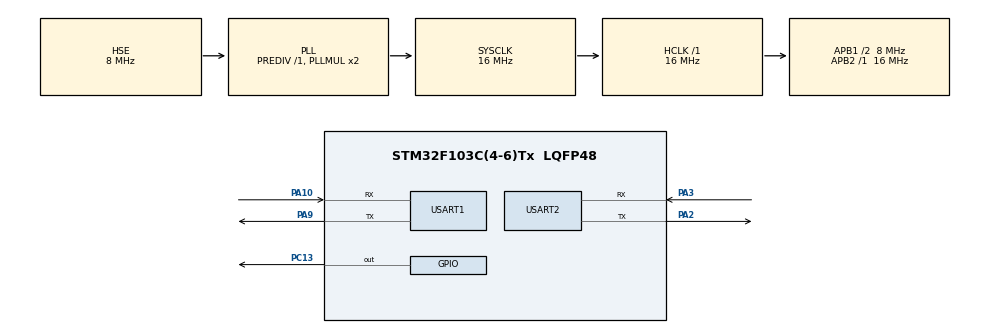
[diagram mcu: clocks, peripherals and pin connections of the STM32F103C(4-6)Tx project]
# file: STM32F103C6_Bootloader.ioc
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Mcu.Family=STM32F1
Mcu.Name=STM32F103C(4-6)Tx
Mcu.Package=LQFP48
NVIC.PriorityGroup=NVIC_PRIORITYGROUP_4
PA10.Mode=Asynchronous
PA10.Signal=USART1_RX
PA13.Mode=Serial_Wire
PA13.Signal=SYS_JTMS-SWDIO
PA14.Mode=Serial_Wire
PA14.Signal=SYS_JTCK-SWCLK
PA2.Mode=Asynchronous
PA2.Signal=USART2_TX
PA3.Mode=Asynchronous
PA3.Signal=USART2_RX
PA9.Mode=Asynchronous
PA9.Signal=USART1_TX
PC13-TAMPER-RTC.Signal=GPIO_Output
PD0-OSC_IN.Mode=HSE-External-Oscillator
PD0-OSC_IN.Signal=RCC_OSC_IN
PD1-OSC_OUT.Mode=HSE-External-Oscillator
PD1-OSC_OUT.Signal=RCC_OSC_OUT
ProjectManager.HeapSize=0x200
ProjectManager.StackSize=0x400
ProjectManager.TargetToolchain=STM32CubeIDE
RCC.AHBFreq_Value=16000000
RCC.APB1CLKDivider=RCC_HCLK_DIV2
RCC.APB1Freq_Value=8000000
RCC.APB1TimFreq_Value=16000000
RCC.APB2Freq_Value=16000000
RCC.APB2TimFreq_Value=16000000
RCC.HCLKFreq_Value=16000000
RCC.PLLSourceVirtual=RCC_PLLSOURCE_HSE
RCC.SYSCLKFreq_VALUE=16000000
RCC.SYSCLKSource=RCC_SYSCLKSOURCE_PLLCLK
RCC.USBFreq_Value=16000000
USART1.VirtualMode=VM_ASYNC
USART2.VirtualMode=VM_ASYNC
VP_CRC_VS_CRC.Mode=CRC_Activate
board=custom

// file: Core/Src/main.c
/* USER CODE BEGIN Header */
/**
  ******************************************************************************
  * @file           : main.c
  * @brief          : Main program body
  ******************************************************************************
  * @attention
  *
  * Copyright (c) 2023 STMicroelectronics.
  * All rights reserved.
  *
  * This software is licensed under terms that can be found in the LICENSE file
  * in the root directory of this software component.
  * If no LICENSE file comes with this software, it is provided AS-IS.
  *
  ******************************************************************************
  */
/* USER CODE END Header */
#include "main.h"
#include "crc.h"
#include "usart.h"
#include "gpio.h"

/* USER CODE BEGIN Includes */
#include "Bootloader.h"
/* USER CODE END Includes */

void SystemClock_Config(void);
/* USER CODE BEGIN PFP */
uint8_t Check_APP_EXIST(void);
/* USER CODE END PFP */

int main(void)
{

  /* MCU Configuration--------------------------------------------------------*/

  /* Reset of all peripherals, Initializes the Flash interface and the Systick. */
  HAL_Init();

  /* Configure the system clock */
  SystemClock_Config();

  /* Initialize all configured peripherals */
  MX_GPIO_Init();
  MX_CRC_Init();
  MX_USART2_UART_Init();
  MX_USART1_UART_Init();
  /* USER CODE BEGIN 2 */
  uint8_t App_Status = Check_APP_EXIST();
  if (App_Status == APP_EXIST)
  {
	BL_Print_Message("App Started \r\n");
  	Bootloader_Jump_To_User_App();
  }
  BL_Print_Message("Bootloader Started \r\n");
  /* USER CODE END 2 */

  /* Infinite loop */
  while (1)
  {

    /* USER CODE BEGIN 3 */
	BL_UART_Fetch_Host_Command();
  }
  /* USER CODE END 3 */
}

void SystemClock_Config(void)
{
  RCC_OscInitTypeDef RCC_OscInitStruct = {0};
  RCC_ClkInitTypeDef RCC_ClkInitStruct = {0};

  /** Initializes the RCC Oscillators according to the specified parameters
  * in the RCC_OscInitTypeDef structure.
  */
  RCC_OscInitStruct.OscillatorType = RCC_OSCILLATORTYPE_HSE;
  RCC_OscInitStruct.HSEState = RCC_HSE_ON;
  RCC_OscInitStruct.HSEPredivValue = RCC_HSE_PREDIV_DIV1;
  RCC_OscInitStruct.HSIState = RCC_HSI_ON;
  RCC_OscInitStruct.PLL.PLLState = RCC_PLL_ON;
  RCC_OscInitStruct.PLL.PLLSource = RCC_PLLSOURCE_HSE;
  RCC_OscInitStruct.PLL.PLLMUL = RCC_PLL_MUL2;
  if (HAL_RCC_OscConfig(&RCC_OscInitStruct) != HAL_OK)
  {
    Error_Handler();
  }

  /** Initializes the CPU, AHB and APB buses clocks
  */
  RCC_ClkInitStruct.ClockType = RCC_CLOCKTYPE_HCLK|RCC_CLOCKTYPE_SYSCLK
                              |RCC_CLOCKTYPE_PCLK1|RCC_CLOCKTYPE_PCLK2;
  RCC_ClkInitStruct.SYSCLKSource = RCC_SYSCLKSOURCE_PLLCLK;
  RCC_ClkInitStruct.AHBCLKDivider = RCC_SYSCLK_DIV1;
  RCC_ClkInitStruct.APB1CLKDivider = RCC_HCLK_DIV2;
  RCC_ClkInitStruct.APB2CLKDivider = RCC_HCLK_DIV1;

  if (HAL_RCC_ClockConfig(&RCC_ClkInitStruct, FLASH_LATENCY_0) != HAL_OK)
  {
    Error_Handler();
  }
}

/* USER CODE BEGIN 4 */
uint8_t Check_APP_EXIST()
{
	uint8_t App_Status = APP_NOT_EXIST;
	uint8_t* data = (uint8_t*)((uint32_t *)FLASH_USER_APP_BASE_ADDRESS);
	uint16_t* flag = (uint16_t*)((uint32_t *)USER_APP_FLAG_ADDR_BASE);
	if (*data != 0xFF && *flag == 0x00F1)
	{
		App_Status = APP_EXIST;
	}
	else
	{
		App_Status = APP_NOT_EXIST;
	}
	return App_Status;
}
/* USER CODE END 4 */

void Error_Handler(void)
{
  __disable_irq();
  while (1)
  {
  }
}
